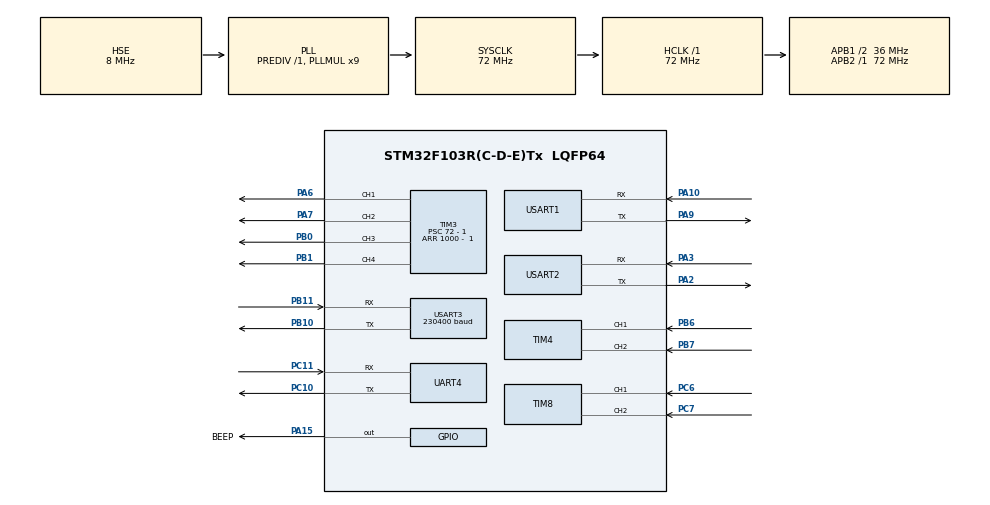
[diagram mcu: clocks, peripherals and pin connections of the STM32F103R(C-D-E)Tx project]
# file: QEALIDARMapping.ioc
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Dma.Request0=USART2_RX
Dma.Request1=USART3_RX
Dma.USART2_RX.0.Direction=DMA_PERIPH_TO_MEMORY
Dma.USART2_RX.0.Instance=DMA1_Channel6
Dma.USART2_RX.0.MemDataAlignment=DMA_MDATAALIGN_BYTE
Dma.USART2_RX.0.MemInc=DMA_MINC_ENABLE
Dma.USART2_RX.0.Mode=DMA_CIRCULAR
Dma.USART2_RX.0.PeriphDataAlignment=DMA_PDATAALIGN_BYTE
Dma.USART2_RX.0.PeriphInc=DMA_PINC_DISABLE
Dma.USART2_RX.0.Priority=DMA_PRIORITY_HIGH
Dma.USART3_RX.1.Direction=DMA_PERIPH_TO_MEMORY
Dma.USART3_RX.1.Instance=DMA1_Channel3
Dma.USART3_RX.1.MemDataAlignment=DMA_MDATAALIGN_BYTE
Dma.USART3_RX.1.MemInc=DMA_MINC_ENABLE
Dma.USART3_RX.1.Mode=DMA_CIRCULAR
Dma.USART3_RX.1.PeriphDataAlignment=DMA_PDATAALIGN_BYTE
Dma.USART3_RX.1.PeriphInc=DMA_PINC_DISABLE
Dma.USART3_RX.1.Priority=DMA_PRIORITY_VERY_HIGH
FREERTOS.Mutexes01=debugUartMutex,Dynamic,NULL
FREERTOS.Tasks01=defaultTask,24,512,StartDefaultTask,Default,NULL,Dynamic,NULL,NULL;imuDecoder,24,512,IMUDecoder,Default,NULL,Dynamic,NULL,NULL;robotCon,24,512,RobotCon,Default,NULL,Dynamic,NULL,NULL
FREERTOS.configTOTAL_HEAP_SIZE=11000
Mcu.Family=STM32F1
Mcu.Name=STM32F103R(C-D-E)Tx
Mcu.Package=LQFP64
NVIC.DMA1_Channel3_IRQn=true\:5\:0\:false\:false\:true\:true\:false\:true
NVIC.DMA1_Channel6_IRQn=true\:5\:0\:false\:false\:true\:true\:false\:true
NVIC.PriorityGroup=NVIC_PRIORITYGROUP_4
NVIC.TIM6_IRQn=true\:15\:0\:false\:false\:true\:false\:false\:true
NVIC.TIM7_IRQn=true\:4\:0\:true\:false\:true\:false\:true\:true
NVIC.TimeBase=TIM6_IRQn
NVIC.TimeBaseIP=TIM6
NVIC.USART1_IRQn=true\:5\:0\:true\:false\:true\:true\:true\:true
NVIC.USART2_IRQn=true\:5\:0\:true\:false\:true\:true\:true\:true
NVIC.USART3_IRQn=true\:5\:0\:true\:false\:true\:true\:true\:true
PA10.Mode=Asynchronous
PA10.Signal=USART1_RX
PA13.Mode=Serial_Wire
PA13.Signal=SYS_JTMS-SWDIO
PA14.Mode=Serial_Wire
PA14.Signal=SYS_JTCK-SWCLK
PA15.GPIO_Label=BEEP
PA15.Signal=GPIO_Output
PA2.Mode=Asynchronous
PA2.Signal=USART2_TX
PA3.Mode=Asynchronous
PA3.Signal=USART2_RX
PA6.Signal=S_TIM3_CH1
PA7.Signal=S_TIM3_CH2
PA9.Mode=Asynchronous
PA9.Signal=USART1_TX
PB0.Signal=S_TIM3_CH3
PB1.Signal=S_TIM3_CH4
PB10.Mode=Asynchronous
PB10.Signal=USART3_TX
PB11.Mode=Asynchronous
PB11.Signal=USART3_RX
PB6.Signal=S_TIM4_CH1
PB7.Signal=S_TIM4_CH2
PC10.Mode=Asynchronous
PC10.Signal=UART4_TX
PC11.Mode=Asynchronous
PC11.Signal=UART4_RX
PC6.Signal=S_TIM8_CH1
PC7.Signal=S_TIM8_CH2
PD0-OSC_IN.Mode=HSE-External-Oscillator
PD0-OSC_IN.Signal=RCC_OSC_IN
PD1-OSC_OUT.Mode=HSE-External-Oscillator
PD1-OSC_OUT.Signal=RCC_OSC_OUT
ProjectManager.HeapSize=0x1000
ProjectManager.StackSize=0x1000
ProjectManager.TargetToolchain=STM32CubeIDE
RCC.AHBFreq_Value=72000000
RCC.APB1CLKDivider=RCC_HCLK_DIV2
RCC.APB1Freq_Value=36000000
RCC.APB1TimFreq_Value=72000000
RCC.APB2Freq_Value=72000000
RCC.APB2TimFreq_Value=72000000
RCC.HCLKFreq_Value=72000000
RCC.PLLMUL=RCC_PLL_MUL9
RCC.PLLSourceVirtual=RCC_PLLSOURCE_HSE
RCC.SYSCLKFreq_VALUE=72000000
RCC.SYSCLKSource=RCC_SYSCLKSOURCE_PLLCLK
RCC.USBFreq_Value=72000000
SH.S_TIM3_CH1.0=TIM3_CH1,PWM Generation1 CH1
SH.S_TIM3_CH2.0=TIM3_CH2,PWM Generation2 CH2
SH.S_TIM3_CH3.0=TIM3_CH3,PWM Generation3 CH3
SH.S_TIM3_CH4.0=TIM3_CH4,PWM Generation4 CH4
SH.S_TIM4_CH1.0=TIM4_CH1,Encoder_Interface
SH.S_TIM4_CH2.0=TIM4_CH2,Encoder_Interface
SH.S_TIM8_CH1.0=TIM8_CH1,Encoder_Interface
SH.S_TIM8_CH2.0=TIM8_CH2,Encoder_Interface
TIM3.Channel-PWM\ Generation1\ CH1=TIM_CHANNEL_1
TIM3.Channel-PWM\ Generation2\ CH2=TIM_CHANNEL_2
TIM3.Channel-PWM\ Generation3\ CH3=TIM_CHANNEL_3
TIM3.Channel-PWM\ Generation4\ CH4=TIM_CHANNEL_4
TIM3.Period=1000 -  1
TIM3.Prescaler=72 - 1
TIM4.EncoderMode=TIM_ENCODERMODE_TI12
TIM7.Period=1000 - 1
TIM7.Prescaler=72 - 1
TIM8.EncoderMode=TIM_ENCODERMODE_TI12
UART4.VirtualMode=Asynchronous
USART1.VirtualMode=VM_ASYNC
USART2.VirtualMode=VM_ASYNC
USART3.BaudRate=230400
USART3.VirtualMode=VM_ASYNC
VP_FREERTOS_VS_CMSIS_V2.Mode=CMSIS_V2
VP_SYS_VS_tim6.Mode=TIM6
VP_TIM3_VS_ClockSourceINT.Mode=Internal
VP_TIM7_VS_ClockSourceINT.Mode=Enable_Timer
board=custom

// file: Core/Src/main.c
/* USER CODE BEGIN Header */
/**
  ******************************************************************************
  * @file           : main.c
  * @brief          : Main program body
  ******************************************************************************
  * @attention
  *
  * Copyright (c) 2023 STMicroelectronics.
  * All rights reserved.
  *
  * This software is licensed under terms that can be found in the LICENSE file
  * in the root directory of this software component.
  * If no LICENSE file comes with this software, it is provided AS-IS.
  *
  ******************************************************************************
  */
/* USER CODE END Header */
#include "main.h"
#include "cmsis_os.h"
#include "dma.h"
#include "tim.h"
#include "usart.h"
#include "gpio.h"

/* USER CODE BEGIN Includes */

#include "wheel_pwm.h"
#include "imu.h"
#include "robot.h"

/* USER CODE END Includes */

void SystemClock_Config(void);
void MX_FREERTOS_Init(void);

/* USER CODE BEGIN 0 */

void HAL_UART_RxHalfCpltCallback(UART_HandleTypeDef* huart)
{
    if (huart->Instance == USART2) {
        IMU_RxHalfCpltCallback();
    }
}

void HAL_UART_RxCpltCallback(UART_HandleTypeDef* huart)
{
    if (huart->Instance == USART2) {
        IMU_RxCpltCallback();
    } else if (huart->Instance == USART1) {
        Robot_RxCpltCallback();
    }
}

/* USER CODE END 0 */

int main(void)
{

  /* MCU Configuration--------------------------------------------------------*/

  /* Reset of all peripherals, Initializes the Flash interface and the Systick. */
  HAL_Init();

  /* Configure the system clock */
  SystemClock_Config();

  /* Initialize all configured peripherals */
  MX_DMA_Init();
  MX_GPIO_Init();
  MX_USART1_UART_Init();
  MX_USART2_UART_Init();
  MX_USART3_UART_Init();
  MX_TIM3_Init();
  MX_TIM4_Init();
  MX_TIM8_Init();
  MX_TIM7_Init();
  MX_UART4_Init();
  /* USER CODE BEGIN 2 */

    PID_Init();

    HAL_TIM_Base_Start_IT(&htim7); //开启编码器速率采样 每隔1ms采样一次
    HAL_TIM_Encoder_Start(&htim4, TIM_CHANNEL_1 | TIM_CHANNEL_2);
    HAL_TIM_Encoder_Start(&htim8, TIM_CHANNEL_1 | TIM_CHANNEL_2);
//    HAL_TIM_PWM_Start(&htim3, TIM_CHANNEL_1);
//    HAL_TIM_PWM_Start(&htim3, TIM_CHANNEL_2);
//    HAL_TIM_PWM_Start(&htim3, TIM_CHANNEL_3);
//    HAL_TIM_PWM_Start(&htim3, TIM_CHANNEL_4);

  /* USER CODE END 2 */

  /* Init scheduler */
  osKernelInitialize();  /* Call init function for freertos objects (in freertos.c) */
  MX_FREERTOS_Init();
  /* Start scheduler */
  osKernelStart();

  /* We should never get here as control is now taken by the scheduler */
  /* Infinite loop */
  while (1)
  {

  }
}

void SystemClock_Config(void)
{
  RCC_OscInitTypeDef RCC_OscInitStruct = {0};
  RCC_ClkInitTypeDef RCC_ClkInitStruct = {0};

  /** Initializes the RCC Oscillators according to the specified parameters
  * in the RCC_OscInitTypeDef structure.
  */
  RCC_OscInitStruct.OscillatorType = RCC_OSCILLATORTYPE_HSE;
  RCC_OscInitStruct.HSEState = RCC_HSE_ON;
  RCC_OscInitStruct.HSEPredivValue = RCC_HSE_PREDIV_DIV1;
  RCC_OscInitStruct.HSIState = RCC_HSI_ON;
  RCC_OscInitStruct.PLL.PLLState = RCC_PLL_ON;
  RCC_OscInitStruct.PLL.PLLSource = RCC_PLLSOURCE_HSE;
  RCC_OscInitStruct.PLL.PLLMUL = RCC_PLL_MUL9;
  if (HAL_RCC_OscConfig(&RCC_OscInitStruct) != HAL_OK)
  {
    Error_Handler();
  }
  /** Initializes the CPU, AHB and APB buses clocks
  */
  RCC_ClkInitStruct.ClockType = RCC_CLOCKTYPE_HCLK|RCC_CLOCKTYPE_SYSCLK
                              |RCC_CLOCKTYPE_PCLK1|RCC_CLOCKTYPE_PCLK2;
  RCC_ClkInitStruct.SYSCLKSource = RCC_SYSCLKSOURCE_PLLCLK;
  RCC_ClkInitStruct.AHBCLKDivider = RCC_SYSCLK_DIV1;
  RCC_ClkInitStruct.APB1CLKDivider = RCC_HCLK_DIV2;
  RCC_ClkInitStruct.APB2CLKDivider = RCC_HCLK_DIV1;

  if (HAL_RCC_ClockConfig(&RCC_ClkInitStruct, FLASH_LATENCY_2) != HAL_OK)
  {
    Error_Handler();
  }
}

void HAL_TIM_PeriodElapsedCallback(TIM_HandleTypeDef *htim)
{
  if (htim->Instance == TIM6) {
    HAL_IncTick();
  }
  /* USER CODE BEGIN Callback 1 */

  if (htim->Instance == TIM7) {
      PID_Tick();
  }

  /* USER CODE END Callback 1 */
}

void Error_Handler(void)
{
  __disable_irq();
  while (1)
  {
  }
}

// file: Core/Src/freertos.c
/* USER CODE BEGIN Header */
/**
  ******************************************************************************
  * File Name          : freertos.c
  * Description        : Code for freertos applications
  ******************************************************************************
  * @attention
  *
  * Copyright (c) 2023 STMicroelectronics.
  * All rights reserved.
  *
  * This software is licensed under terms that can be found in the LICENSE file
  * in the root directory of this software component.
  * If no LICENSE file comes with this software, it is provided AS-IS.
  *
  ******************************************************************************
  */
/* USER CODE END Header */

#include "FreeRTOS.h"
#include "task.h"
#include "main.h"
#include "cmsis_os.h"

/* USER CODE BEGIN Includes */

#include "usart.h"
#include "math.h"
#include "stdio.h"
#include "string.h"
#include "queue.h"
#include "semphr.h"
#include "wheel_pwm.h"
#include "imu.h"
#include "motion.h"
#include "robot.h"

/* USER CODE END Includes */

/* Definitions for defaultTask */
osThreadId_t defaultTaskHandle;
const osThreadAttr_t defaultTask_attributes = {
  .name = "defaultTask",
  .stack_size = 512 * 4,
  .priority = (osPriority_t) osPriorityNormal,
};
/* Definitions for imuDecoder */
osThreadId_t imuDecoderHandle;
const osThreadAttr_t imuDecoder_attributes = {
  .name = "imuDecoder",
  .stack_size = 512 * 4,
  .priority = (osPriority_t) osPriorityNormal,
};
/* Definitions for robotCon */
osThreadId_t robotConHandle;
const osThreadAttr_t robotCon_attributes = {
  .name = "robotCon",
  .stack_size = 512 * 4,
  .priority = (osPriority_t) osPriorityNormal,
};
/* Definitions for debugUartMutex */
osMutexId_t debugUartMutexHandle;
const osMutexAttr_t debugUartMutex_attributes = {
  .name = "debugUartMutex"
};

void StartDefaultTask(void *argument);
void IMUDecoder(void *argument);
void RobotCon(void *argument);

void MX_FREERTOS_Init(void); /* (MISRA C 2004 rule 8.1) */

void MX_FREERTOS_Init(void) {
  /* Create the mutex(es) */
  /* creation of debugUartMutex */
  debugUartMutexHandle = osMutexNew(&debugUartMutex_attributes);

  /* USER CODE BEGIN RTOS_QUEUES */

  messageBufferHandle = xMessageBufferCreate(1024);

  /* add queues, ... */
  /* USER CODE END RTOS_QUEUES */

  /* Create the thread(s) */
  /* creation of defaultTask */
  defaultTaskHandle = osThreadNew(StartDefaultTask, NULL, &defaultTask_attributes);

  /* creation of imuDecoder */
  imuDecoderHandle = osThreadNew(IMUDecoder, NULL, &imuDecoder_attributes);

  /* creation of robotCon */
  robotConHandle = osThreadNew(RobotCon, NULL, &robotCon_attributes);

}

void StartDefaultTask(void *argument)
{
  /* USER CODE BEGIN StartDefaultTask */
  /* Infinite loop */
  for(;;)
  {

      //上传左轮速度，pwm值
      char message[128] = {0};
//      snprintf(message, 64, "lSpeed:%.2lf lPwm:%.2lf\r\n", leftPWM.speed, leftPWM.pwm);
//      xSemaphoreTake(debugUartMutexHandle, portMAX_DELAY); //获取串口调试资源
//      HAL_UART_Transmit(&huart1, message, strlen(message), 100);
//      xSemaphoreGive(debugUartMutexHandle); //释放串口调试资源
//      //上传右轮速度，pwm值
//      snprintf(message, 64, "rSpeed:%.2lf rPwm:%.2lf\r\n", rightPWM.speed, rightPWM.pwm);
//      xSemaphoreTake(debugUartMutexHandle, portMAX_DELAY); //获取串口调试资源
//      HAL_UART_Transmit(&huart1, message, strlen(message), 100);
//      xSemaphoreGive(debugUartMutexHandle); //释放串口调试资源
//
      //上传imu数据
      snprintf(message, 64, "[imu] roll:%.2lf pitch:%.2lf heading:%.2lf\r\n", robotIMU.roll, robotIMU.pitch, robotIMU.heading);
      xSemaphoreTake(debugUartMutexHandle, portMAX_DELAY); //获取串口调试资源
      HAL_UART_Transmit(&huart1, message, strlen(message), 100);
      xSemaphoreGive(debugUartMutexHandle); //释放串口调试资源

//      //上传lidar数据
//      for (int i = 0; i < 360; ++i) {
//          snprintf(message, 64, "%d %d %d %d %d %.2lf\r\n", i, lidarPointData[i].distance, lidarPointData[i].intensity,
//                   lidarPointData[i].x, lidarPointData[i].y, lidarPointData[i].radian);
//          xSemaphoreTake(debugUartMutexHandle, portMAX_DELAY); //获取串口调试资源
//          HAL_UART_Transmit(&huart4, message, strlen(message), 100);
//          xSemaphoreGive(debugUartMutexHandle); //释放串口调试资源
//      }

//      snprintf(message, 64, "time_stamp:%d\r\n", lidar_time_stamp);
//      xSemaphoreTake(debugUartMutexHandle, portMAX_DELAY); //获取串口调试资源
//      HAL_UART_Transmit(&huart1, message, strlen(message), 100);
//      xSemaphoreGive(debugUartMutexHandle); //释放串口调试资源

      osDelay(100);
  }
  /* USER CODE END StartDefaultTask */
}

void IMUDecoder(void *argument)
{
  /* USER CODE BEGIN IMUDecoder */
  imuTaskHandle = xTaskGetCurrentTaskHandle(); //将当前任务句柄送给imu
  /* Infinite loop */
  for(uint32_t cnt = 0; ; ++cnt)
  {
      if (HAL_UART_STATE_READY == HAL_UART_GetState(&huart2)) {
          HAL_UART_Receive_DMA(&huart2, imuRecvBuff, 128); //开启imu串口通信
      }

      uint32_t value = 0;
      if (pdTRUE == xTaskNotifyWait(0, 0xffffffff, &value, pdMS_TO_TICKS(100)) && value == 0x12345678) {
          while (!DecodeIMUPackage()) {} //解析imu数据包
      }
      osDelay(1);
  }
  /* USER CODE END IMUDecoder */
}

void RobotCon(void *argument)
{
  /* USER CODE BEGIN RobotCon */
    robotConTask = robotConHandle;
    HAL_UART_Receive_IT(&huart1, robotRecvBuff + robotRecvOffset, 1);
  /* Infinite loop */
  for(;;)
  {
    char message[128] = {0};
    xMessageBufferReceive(messageBufferHandle, message, 128, portMAX_DELAY);

      xSemaphoreTake(debugUartMutexHandle, portMAX_DELAY); //获取串口调试资源
      HAL_UART_Transmit(&huart1, message, strlen(message), 100);
      xSemaphoreGive(debugUartMutexHandle); //释放串口调试资源

    if (strstr(message, "[forward]") != NULL) {
        double speed;
        sscanf(message, "[forward] speed=%lf", &speed);
        ClearSpeed();
        MoveForward(speed);
        CommitSpeed();
    } else if (strstr(message, "[spin]") != NULL) {
        double radian;
        sscanf(message, "[spin] radian=%lf", &radian);
        SpinTo(radian);
    }
    osDelay(1);
  }
  /* USER CODE END RobotCon */
}
